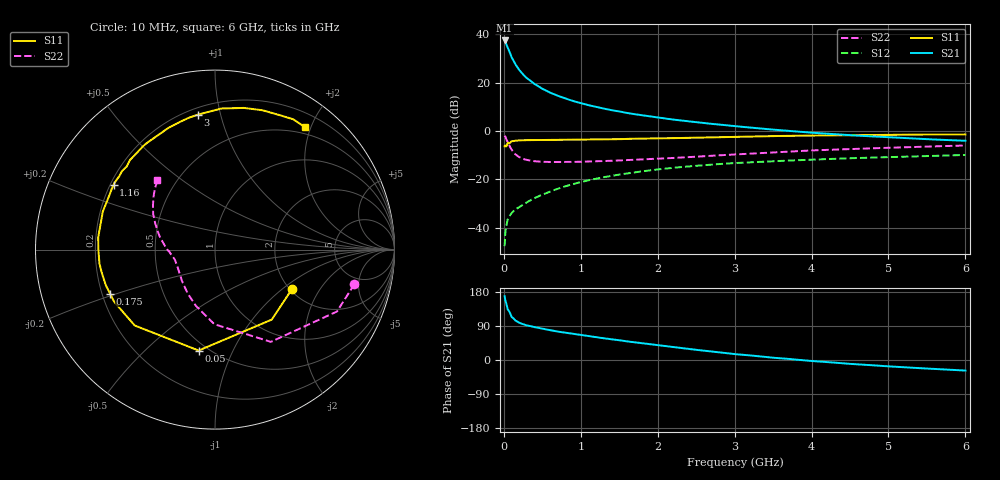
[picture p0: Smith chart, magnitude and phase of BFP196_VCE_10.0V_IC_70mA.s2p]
! Infineon Technologies  Discrete & RF Semiconductors
! BFP196
! VCE = 10.0V,  IC =  70mA
! Common Emitter S-Parameters:  Jan 2016
# GHz  S  MA  R  50
!  f  S11  S21  S12  S22
! GHz  MAG  ANG  MAG  ANG  MAG  ANG  MAG  ANG
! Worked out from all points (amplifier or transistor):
!   210 points, 10 MHz to 6 GHz, reference 50 ohm
!   highest |S21| = 37.4 dB at 10 MHz (marker M1)
!   |S21| within 3 dB of that: start of sweep to 51.53 MHz
!   unconditionally stable (mu >= 1): 484 MHz to 4.999 GHz
!   at 185 MHz: K = 0.71, MSG = 28.8 dB, |S12| = -31.7 dB
!   at 1.52 GHz: K = 1.09, MAG = 11.1 dB, |S12| = -17.9 dB
!   at 6 GHz: K = 0.98, MSG = 2.9 dB, |S12| = -9.9 dB
!   S11 on the Smith chart (normalised r, x): 10 MHz: 2.07, -1.17; 50 MHz: 0.45, -0.75; 175 MHz: 0.23, -0.19; 1.16 GHz: 0.21, +0.28; 3 GHz: 0.24, +0.85; 6 GHz: 0.40, +1.91
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0.01  0.4824 -26.7  73.73 168.2  0.0042 69.0  0.7998 -14.0
0.02  0.502 -51.0  69 156.9  0.0082 66.2  0.7622 -26.9
0.05  0.5696 -99.2  52.86 133.8  0.015 53.7  0.6009 -58.8
0.1  0.6156 -136.6  33.44 114.0  0.0202 46.7  0.4161 -90.4
0.15  0.6325 -152.6  23.63 104.2  0.024 46.9  0.3301 -108.9
0.175  0.6342 -157.3  20.87 101.6  0.0254 48.4  0.3081 -114.6
0.2  0.6401 -162.0  18.17 98.3  0.0269 49.7  0.2896 -121.2
0.26  0.6448 -169.6  14.13 93.7  0.0309 52.4  0.2623 -131.9
0.3  0.6485 -173.2  12.27 91.2  0.0338 54.4  0.2525 -137.0
0.4  0.6502 179.5  9.282 86.6  0.0413 58.1  0.2378 -146.6
0.5  0.6544 174.0  7.43 82.5  0.0485 60.1  0.2311 -152.9
0.6  0.652 169.2  6.197 78.7  0.0563 60.7  0.2293 -157.0
0.8  0.6602 161.1  4.666 72.0  0.0723 60.6  0.2299 -162.9
1.02  0.6624 152.3  3.679 65.4  0.0897 59.4  0.2324 -167.3
1.16  0.67 147.5  3.243 61.4  0.1006 58.2  0.2364 -169.6
1.6  0.6881 133.6  2.349 49.3  0.133 52.7  0.2506 -175.6
2.02  0.7056 121.6  1.875 38.7  0.162 46.5  0.2691 178.6
3  0.7579 97.2  1.257 15.6  0.2178 32.4  0.3271 164.1
3.1  0.7619 95.2  1.217 13.9  0.2216 30.9  0.3336 162.5
4.1  0.8075 77.0  0.9 -4.0  0.2596 18.4  0.4022 149.0
5.1  0.8325 63.8  0.728 -17.9  0.292 7.5  0.4554 138.5
6  0.8467 53.6  0.628 -27.9  0.3197 -2.2  0.5018 129.7
